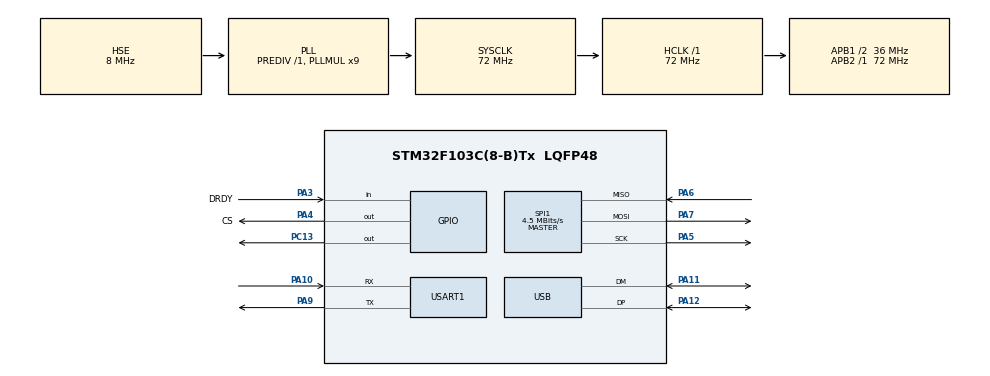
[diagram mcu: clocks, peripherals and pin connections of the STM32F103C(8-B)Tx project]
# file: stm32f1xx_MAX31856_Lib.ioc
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Mcu.Family=STM32F1
Mcu.Name=STM32F103C(8-B)Tx
Mcu.Package=LQFP48
NVIC.PriorityGroup=NVIC_PRIORITYGROUP_4
NVIC.USB_LP_CAN1_RX0_IRQn=true\:0\:0\:false\:false\:true\:false\:true
PA10.Mode=Asynchronous
PA10.Signal=USART1_RX
PA11.Mode=Device
PA11.Signal=USB_DM
PA12.Mode=Device
PA12.Signal=USB_DP
PA13.Mode=Serial_Wire
PA13.Signal=SYS_JTMS-SWDIO
PA14.Mode=Serial_Wire
PA14.Signal=SYS_JTCK-SWCLK
PA3.GPIO_Label=DRDY
PA3.Signal=GPIO_Input
PA4.GPIO_Label=CS
PA4.Signal=GPIO_Output
PA5.Mode=Full_Duplex_Master
PA5.Signal=SPI1_SCK
PA6.Mode=Full_Duplex_Master
PA6.Signal=SPI1_MISO
PA7.Mode=Full_Duplex_Master
PA7.Signal=SPI1_MOSI
PA9.Mode=Asynchronous
PA9.Signal=USART1_TX
PC13-TAMPER-RTC.Signal=GPIO_Output
PD0-OSC_IN.Mode=HSE-External-Oscillator
PD0-OSC_IN.Signal=RCC_OSC_IN
PD1-OSC_OUT.Mode=HSE-External-Oscillator
PD1-OSC_OUT.Signal=RCC_OSC_OUT
ProjectManager.HeapSize=0x400
ProjectManager.StackSize=0x400
ProjectManager.TargetToolchain=STM32CubeIDE
RCC.AHBFreq_Value=72000000
RCC.APB1CLKDivider=RCC_HCLK_DIV2
RCC.APB1Freq_Value=36000000
RCC.APB1TimFreq_Value=72000000
RCC.APB2Freq_Value=72000000
RCC.APB2TimFreq_Value=72000000
RCC.HCLKFreq_Value=72000000
RCC.PLLMUL=RCC_PLL_MUL9
RCC.PLLSourceVirtual=RCC_PLLSOURCE_HSE
RCC.SYSCLKFreq_VALUE=72000000
RCC.SYSCLKSource=RCC_SYSCLKSOURCE_PLLCLK
RCC.USBFreq_Value=48000000
RCC.USBPrescaler=RCC_USBCLKSOURCE_PLL_DIV1_5
SPI1.BaudRatePrescaler=SPI_BAUDRATEPRESCALER_16
SPI1.CLKPhase=SPI_PHASE_2EDGE
SPI1.CalculateBaudRate=4.5 MBits/s
SPI1.Direction=SPI_DIRECTION_2LINES
SPI1.Mode=SPI_MODE_MASTER
SPI1.VirtualType=VM_MASTER
USART1.VirtualMode=VM_ASYNC
USB_DEVICE.CLASS_NAME_FS=CDC
USB_DEVICE.VirtualMode=Cdc
USB_DEVICE.VirtualModeFS=Cdc_FS
VP_USB_DEVICE_VS_USB_DEVICE_CDC_FS.Mode=CDC_FS
board=custom

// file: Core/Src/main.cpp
/* USER CODE BEGIN Header */
/**
 ******************************************************************************
 * @file           : main.c
 * @brief          : Main program body
 ******************************************************************************
 * @attention
 *
 * <h2><center>&copy; Copyright (c) 2020 STMicroelectronics.
 * All rights reserved.</center></h2>
 *
 * This software component is licensed by ST under BSD 3-Clause license,
 * the "License"; You may not use this file except in compliance with the
 * License. You may obtain a copy of the License at:
 *                        opensource.org/licenses/BSD-3-Clause
 *
 ******************************************************************************
 */
/* USER CODE END Header */
#include "main.h"
#include "usb_device.h"

/* USER CODE BEGIN Includes */

#include "Serial.h"
#include "MAX31856.h"
#include "usbd_cdc_if.h"

/* USER CODE END Includes */

SPI_HandleTypeDef hspi1;

UART_HandleTypeDef huart1;

/* USER CODE BEGIN PV */

class Usb: public Print
{
public:

    Usb();
    virtual void write( uint8_t * text );
};

Usb::Usb()
{

}

void Usb::write( uint8_t * text )
{

    CDC_Transmit_FS( text, strlen( (char*) text ) );
}

Usb usb;
Serial serial( &huart1 );
MAX31856 sensor( &hspi1, CS_GPIO_Port, CS_Pin );

/* USER CODE END PV */

void SystemClock_Config(void);
static void MX_GPIO_Init(void);
static void MX_SPI1_Init(void);
static void MX_USART1_UART_Init(void);
/* USER CODE BEGIN PFP */

float filter1( float signal );
float filter2( float signal );
void CDC_ReceiveCallBack( uint8_t * Buf, uint16_t Len );

/* USER CODE END PFP */

int main(void)
{

  /* MCU Configuration--------------------------------------------------------*/

  /* Reset of all peripherals, Initializes the Flash interface and the Systick. */
  HAL_Init();

  /* Configure the system clock */
  SystemClock_Config();

  /* Initialize all configured peripherals */
  MX_GPIO_Init();
  MX_SPI1_Init();
  MX_USART1_UART_Init();
  MX_USB_DEVICE_Init();
  /* USER CODE BEGIN 2 */

    sensor.begin( TC_TYPE_K, AVG_4_SAMPLES, CONV_CONTINUOUS );

  /* USER CODE END 2 */

  /* Infinite loop */
  /* USER CODE BEGIN WHILE */
    while ( 1 )
    {

        while ( HAL_GPIO_ReadPin( DRDY_GPIO_Port, DRDY_Pin ) == GPIO_PIN_SET )
        {

        }

        serial.print( "temperatura CJT %.2f grados celcius ----",
                filter1( sensor.readCJTemperature() ) );
        serial.print( "temperatura %.2f grados celcius \r\n",
                filter2( sensor.readThermocoupleTemperature() ) );
        //        usb.print( "temperatura CJT %.2f grados celcius ----",
        //                sensor.readCJTemperature() );
        //        usb.print( "temperatura %.2f grados celcius \r\n",
        //                sensor.readThermocoupleTemperature() );

        HAL_Delay( 100 );
    /* USER CODE END WHILE */

    }
}

void SystemClock_Config(void)
{
  RCC_OscInitTypeDef RCC_OscInitStruct = {0};
  RCC_ClkInitTypeDef RCC_ClkInitStruct = {0};
  RCC_PeriphCLKInitTypeDef PeriphClkInit = {0};

  /** Initializes the RCC Oscillators according to the specified parameters
  * in the RCC_OscInitTypeDef structure.
  */
  RCC_OscInitStruct.OscillatorType = RCC_OSCILLATORTYPE_HSE;
  RCC_OscInitStruct.HSEState = RCC_HSE_ON;
  RCC_OscInitStruct.HSEPredivValue = RCC_HSE_PREDIV_DIV1;
  RCC_OscInitStruct.HSIState = RCC_HSI_ON;
  RCC_OscInitStruct.PLL.PLLState = RCC_PLL_ON;
  RCC_OscInitStruct.PLL.PLLSource = RCC_PLLSOURCE_HSE;
  RCC_OscInitStruct.PLL.PLLMUL = RCC_PLL_MUL9;
  if (HAL_RCC_OscConfig(&RCC_OscInitStruct) != HAL_OK)
  {
    Error_Handler();
  }
  /** Initializes the CPU, AHB and APB buses clocks
  */
  RCC_ClkInitStruct.ClockType = RCC_CLOCKTYPE_HCLK|RCC_CLOCKTYPE_SYSCLK
                              |RCC_CLOCKTYPE_PCLK1|RCC_CLOCKTYPE_PCLK2;
  RCC_ClkInitStruct.SYSCLKSource = RCC_SYSCLKSOURCE_PLLCLK;
  RCC_ClkInitStruct.AHBCLKDivider = RCC_SYSCLK_DIV1;
  RCC_ClkInitStruct.APB1CLKDivider = RCC_HCLK_DIV2;
  RCC_ClkInitStruct.APB2CLKDivider = RCC_HCLK_DIV1;

  if (HAL_RCC_ClockConfig(&RCC_ClkInitStruct, FLASH_LATENCY_2) != HAL_OK)
  {
    Error_Handler();
  }
  PeriphClkInit.PeriphClockSelection = RCC_PERIPHCLK_USB;
  PeriphClkInit.UsbClockSelection = RCC_USBCLKSOURCE_PLL_DIV1_5;
  if (HAL_RCCEx_PeriphCLKConfig(&PeriphClkInit) != HAL_OK)
  {
    Error_Handler();
  }
}

static void MX_SPI1_Init(void)
{

  /* SPI1 parameter configuration*/
  hspi1.Instance = SPI1;
  hspi1.Init.Mode = SPI_MODE_MASTER;
  hspi1.Init.Direction = SPI_DIRECTION_2LINES;
  hspi1.Init.DataSize = SPI_DATASIZE_8BIT;
  hspi1.Init.CLKPolarity = SPI_POLARITY_LOW;
  hspi1.Init.CLKPhase = SPI_PHASE_2EDGE;
  hspi1.Init.NSS = SPI_NSS_SOFT;
  hspi1.Init.BaudRatePrescaler = SPI_BAUDRATEPRESCALER_16;
  hspi1.Init.FirstBit = SPI_FIRSTBIT_MSB;
  hspi1.Init.TIMode = SPI_TIMODE_DISABLE;
  hspi1.Init.CRCCalculation = SPI_CRCCALCULATION_DISABLE;
  hspi1.Init.CRCPolynomial = 10;
  if (HAL_SPI_Init(&hspi1) != HAL_OK)
  {
    Error_Handler();
  }

}

static void MX_USART1_UART_Init(void)
{

  huart1.Instance = USART1;
  huart1.Init.BaudRate = 115200;
  huart1.Init.WordLength = UART_WORDLENGTH_8B;
  huart1.Init.StopBits = UART_STOPBITS_1;
  huart1.Init.Parity = UART_PARITY_NONE;
  huart1.Init.Mode = UART_MODE_TX_RX;
  huart1.Init.HwFlowCtl = UART_HWCONTROL_NONE;
  huart1.Init.OverSampling = UART_OVERSAMPLING_16;
  if (HAL_UART_Init(&huart1) != HAL_OK)
  {
    Error_Handler();
  }

}

static void MX_GPIO_Init(void)
{
  GPIO_InitTypeDef GPIO_InitStruct = {0};

  /* GPIO Ports Clock Enable */
  __HAL_RCC_GPIOC_CLK_ENABLE();
  __HAL_RCC_GPIOD_CLK_ENABLE();
  __HAL_RCC_GPIOA_CLK_ENABLE();

  /*Configure GPIO pin Output Level */
  HAL_GPIO_WritePin(GPIOC, GPIO_PIN_13, GPIO_PIN_RESET);

  /*Configure GPIO pin Output Level */
  HAL_GPIO_WritePin(CS_GPIO_Port, CS_Pin, GPIO_PIN_RESET);

  /*Configure GPIO pin : PC13 */
  GPIO_InitStruct.Pin = GPIO_PIN_13;
  GPIO_InitStruct.Mode = GPIO_MODE_OUTPUT_PP;
  GPIO_InitStruct.Pull = GPIO_NOPULL;
  GPIO_InitStruct.Speed = GPIO_SPEED_FREQ_LOW;
  HAL_GPIO_Init(GPIOC, &GPIO_InitStruct);

  /*Configure GPIO pin : DRDY_Pin */
  GPIO_InitStruct.Pin = DRDY_Pin;
  GPIO_InitStruct.Mode = GPIO_MODE_INPUT;
  GPIO_InitStruct.Pull = GPIO_NOPULL;
  HAL_GPIO_Init(DRDY_GPIO_Port, &GPIO_InitStruct);

  /*Configure GPIO pin : CS_Pin */
  GPIO_InitStruct.Pin = CS_Pin;
  GPIO_InitStruct.Mode = GPIO_MODE_OUTPUT_PP;
  GPIO_InitStruct.Pull = GPIO_NOPULL;
  GPIO_InitStruct.Speed = GPIO_SPEED_FREQ_LOW;
  HAL_GPIO_Init(CS_GPIO_Port, &GPIO_InitStruct);

}

/* USER CODE BEGIN 4 */
/*
 * Calcula la Media Móvil Exponencial (EMA) de una señal de entrada.
 * Utiliza el método de suavizado exponencial para filtrar la señal.
 * @param signal - Valor de la señal de entrada.
 * @return El valor filtrado utilizando EMA.
 */

float filter1( float signal )
{
    float alpha = 0.07f; // alpha = 2/(n+1) -- n es el numero de muestras a promediar
    static float s = 0.0f;
    // EMA = (alpha * ValorActual) + (( 1 - alpha) * EMA_anterior)
    s = ( alpha * signal ) + ( ( 1 - alpha ) * s );
    return s;
}

float filter2( float signal )
{
    float alpha = 0.07f; // alpha = 2/(n+1) -- n es el numero de muestras a promediar
    static float s = 0.0f;
    // EMA = (alpha * ValorActual) + (( 1 - alpha) * EMA_anterior)
    s = ( alpha * signal ) + ( ( 1 - alpha ) * s );
    return s;
}

void CDC_ReceiveCallBack( uint8_t * Buf, uint16_t Len )
{
    HAL_GPIO_TogglePin( GPIOC, GPIO_PIN_13 );
    usb.print( Buf );
}

/* USER CODE END 4 */

void Error_Handler(void)
{
}

/************************ (C) COPYRIGHT STMicroelectronics *****END OF FILE****/
